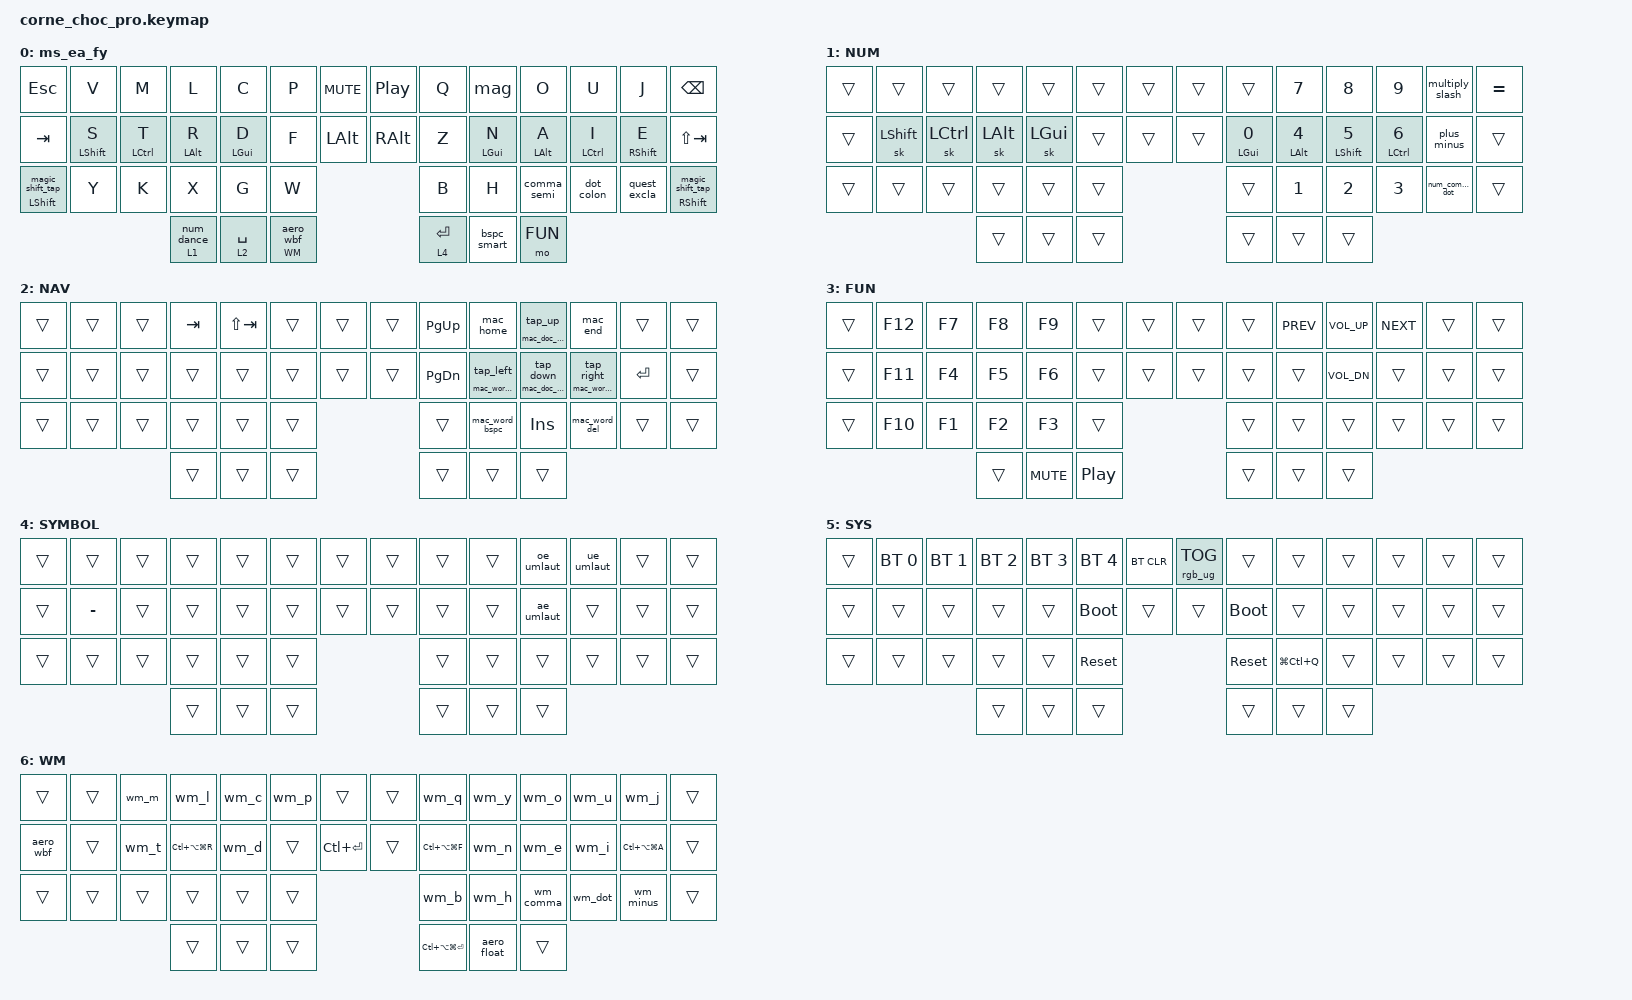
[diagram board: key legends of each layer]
/*
 * Copyright (c) 2020 The ZMK Contributors
 *
 * SPDX-License-Identifier: MIT
 */

#include <behaviors.dtsi>
#include <dt-bindings/zmk/bt.h>
#include <dt-bindings/zmk/keys.h>
#include <dt-bindings/zmk/rgb.h>

// ZMK Helpers for HRMs and macros
#include <zmk-helpers/helper.h>
#include "zmk-helpers/key-labels/corne_choc_pro.h"

// Auto-layer behavior for num-word
#include <behaviors/num_word.dtsi>

/* Layer definitions */
#define BASE   0
#define NUM    1
#define NAV    2
#define FUN    3
#define SYMBOL 4
#define SYS    5
#define WM     6

/ {
    chosen { zmk,physical-layout = &default_layout; };
};

/* Global settings */

#define QUICK_TAP_MS 175

&sk {
  release-after-ms = <900>;
  quick-release;
};

&sl {
  ignore-modifiers;
};

&caps_word {
  /delete-property/ ignore-modifiers;
};

&lt {
  flavor = "balanced";
  tapping-term-ms = <200>;
  quick-tap-ms = <QUICK_TAP_MS>;
};

/* Timeless Homerow Mods */

#define MAKE_HRM(NAME, HOLD, TAP, TRIGGER_POS) \
  ZMK_HOLD_TAP(NAME, \
    bindings = <HOLD>, <TAP>; \
    flavor = "balanced"; \
    tapping-term-ms = <220>; \
    quick-tap-ms = <QUICK_TAP_MS>; \
    require-prior-idle-ms = <250>; \
    hold-trigger-on-release; \
    hold-trigger-key-positions = <TRIGGER_POS>;)

MAKE_HRM(hml, &kp, &kp, KEYS_R THUMBS)  // Left-hand HRMs
MAKE_HRM(hmr, &kp, &kp, KEYS_L THUMBS)  // Right-hand HRMs

/* HRM-Combo Compatibility Hack (cf. ZMK issue #544)
   8-parameter version allows combos overlapping HRMs to have instant chord detection
   while still supporting modifiers on the opposite hand. */
#define ZMK_COMBO_8(NAME, TAP, POS, LAYERS, COMBO_MS, IDLE_MS, HOLD, SIDE) \
  MAKE_HRM(hm_combo_##NAME, &kp, TAP, SIDE THUMBS) \
  ZMK_COMBO_6(NAME, &hm_combo_##NAME HOLD 0, POS, LAYERS, COMBO_MS, IDLE_MS)

/ {
    behaviors {
        /* ================== ADAPTIVE KEY ================== */
        
        mag: magic {
            compatible = "zmk,behavior-adaptive-key";
            #binding-cells = <0>;
            bindings = <&none>;  // dedicated H key exists; no default output needed

            // === ms_ea_fy optimized 21-rule set ===
            // Trigram-conditioned model, weighted 60% EN / 40% DE, W=0.490
            // QWERTZ note: Z keycode → Y char, Y keycode → Z char
            // No max-prior-idle-ms: rules match regardless of timing (dedicated H key exists)

            // Essential (LOO ΔW ≥ 0.010)
            mag_j { trigger-keys = <J>; bindings = <&kp E>; };       // j→e  +0.014 RP SFB
            mag_k { trigger-keys = <K>; bindings = <&kp T>; };       // k→t  +0.011 LR SFB

            // Valuable (LOO ΔW ≥ 0.003)
            mag_r { trigger-keys = <R>; bindings = <&kp L>; };       // r→l  +0.009 LM SFB
            mag_u { trigger-keys = <U>; bindings = <&kp I>; };       // u→i  +0.008 RR SFB
            mag_m { trigger-keys = <M>; bindings = <&kp T>; };       // m→t  +0.007 LR SFB
            mag_o { trigger-keys = <O>; bindings = <&kp A>; };       // o→a  +0.007 RM SFB
            mag_t { trigger-keys = <T>; bindings = <&kp M>; };       // t→m  +0.006 LR SFB
            mag_s { trigger-keys = <S>; bindings = <&kp V>; };       // s→v  +0.006 LP SFB
            mag_i { trigger-keys = <I>; bindings = <&kp U>; };       // i→u  +0.003 RR SFB

            // Nice-to-have (LOO ΔW ≥ 0.001)
            mag_v { trigger-keys = <V>; bindings = <&kp S>; };       // v→s  +0.003 LP SFB
            mag_l { trigger-keys = <L>; bindings = <&kp R>; };       // l→r  +0.003 LM SFB
            mag_a { trigger-keys = <A>; bindings = <&kp O>; };       // a→o  +0.002 RM SFB
            mag_p { trigger-keys = <P>; bindings = <&kp F>; };       // p→f  +0.002 LI SFB
            mag_d { trigger-keys = <D>; bindings = <&kp W>; };       // d→w  +0.002 LI SFB
            mag_z { trigger-keys = <Y>; bindings = <&kp T>; };       // z→t  +0.002 LP→LR fixes "tzt" (Y keycode = Z char)
            mag_f { trigger-keys = <F>; bindings = <&kp G>; };       // f→g  +0.001 LI SFB
            mag_e { trigger-keys = <E>; bindings = <&kp J>; };       // e→j  +0.001 RP SFB
            mag_w { trigger-keys = <W>; bindings = <&kp C>; };       // w→c  +0.001 LI SFB
            mag_g { trigger-keys = <G>; bindings = <&kp P>; };       // g→p  +0.001 LI SFB

            // Marginal (LOO ΔW ≈ 0, zero cost)
            mag_c { trigger-keys = <C>; bindings = <&kp D>; };       // c→d  +0.001 LI SFB
            mag_x { trigger-keys = <X>; bindings = <&kp L>; };       // x→l  +0.000 LM SFB
        };

        /* ================== MOD-MORPHS ================== */
        
        // Base layer punctuation: tap comma, shift semicolon (macOS QWERTZ: , = COMMA, ; = Shift+COMMA)
        comma_semi: comma_semicolon {
            compatible = "zmk,behavior-mod-morph";
            #binding-cells = <0>;
            bindings = <&kp COMMA>, <&kp LS(COMMA)>;
            mods = <(MOD_LSFT|MOD_RSFT)>;
        };

        // Base layer punctuation: tap dot, shift colon (macOS QWERTZ: . = DOT, : = Shift+DOT)
        dot_colon: dot_colon {
            compatible = "zmk,behavior-mod-morph";
            #binding-cells = <0>;
            bindings = <&kp DOT>, <&kp LS(DOT)>;
            mods = <(MOD_LSFT|MOD_RSFT)>;
        };

        // Thumb key: smart backspace/delete with word-delete on Ctrl
        // Ctrl+tap → word-delete-back (Opt+Bspc)
        // Ctrl+Shift+tap → word-delete-forward (Opt+Del)
        // Shift+tap → Del
        // tap → Bspc
        bspc_smart: backspace_smart {
            compatible = "zmk,behavior-mod-morph";
            #binding-cells = <0>;
            bindings = <&bspc_del>, <&word_del_morph>;
            mods = <(MOD_LCTL|MOD_RCTL)>;
        };

        bspc_del: backspace_delete {
            compatible = "zmk,behavior-mod-morph";
            #binding-cells = <0>;
            bindings = <&kp BSPC>, <&kp DEL>;
            mods = <(MOD_LSFT|MOD_RSFT)>;
        };

        word_del_morph: word_delete_morph {
            compatible = "zmk,behavior-mod-morph";
            #binding-cells = <0>;
            bindings = <&mac_word_bspc>, <&mac_word_del>;
            mods = <(MOD_LSFT|MOD_RSFT)>;
        };

        //Tap question mark, shift exclamation mark
        quest_excla: question_exclamation {
            compatible = "zmk,behavior-mod-morph";
            #binding-cells = <0>;
            bindings = <&kp LS(MINUS)>, <&kp LS(N1)>;
            mods = <(MOD_LSFT|MOD_RSFT)>;
        };

        // NUM layer: tap multiply, shift slash (QWERTZ: * = Shift++, / = Shift+7)
        multiply_slash: multiply_slash {
            compatible = "zmk,behavior-mod-morph";
            #binding-cells = <0>;
            bindings = <&kp LS(RBKT)>, <&kp LS(N7)>;
            mods = <(MOD_LSFT|MOD_RSFT)>;
        };

        // NUM layer: tap plus, shift minus (QWERTZ: + = +, - = /)
        plus_minus: plus_minus {
            compatible = "zmk,behavior-mod-morph";
            #binding-cells = <0>;
            bindings = <&kp RBKT>, <&kp FSLH>;
            mods = <(MOD_LSFT|MOD_RSFT)>;
        };

        // NUM layer: tap comma, shift dot
        num_comma_dot: num_comma_dot {
            compatible = "zmk,behavior-mod-morph";
            #binding-cells = <0>;
            bindings = <&kp COMMA>, <&kp DOT>;
            mods = <(MOD_LSFT|MOD_RSFT)>;
        };

        /* ================== COMBO MOD-MORPHS (German QWERTZ) ================== */
        
        // Combo: tap left paren, shift less-than (macOS QWERTZ: ( = Shift+8, < = GRAVE unshifted)
        lpar_lt: lpar_lessthan {
            compatible = "zmk,behavior-mod-morph";
            #binding-cells = <0>;
            bindings = <&kp LS(N8)>, <&kp GRAVE>;
            mods = <(MOD_LSFT|MOD_RSFT)>;
        };

        // Combo: tap right paren, shift greater-than (macOS QWERTZ: ) = Shift+9, > = GRAVE shifted)
        rpar_gt: rpar_greaterthan {
            compatible = "zmk,behavior-mod-morph";
            #binding-cells = <0>;
            bindings = <&kp LS(N9)>, <&kp LS(GRAVE)>;
            mods = <(MOD_LSFT|MOD_RSFT)>;
        };

        // Combo: tap left bracket, shift left brace (macOS German: [ = AltGr+8, { = AltGr+7)
        lbkt_lbrc: lbkt_lbrace {
            compatible = "zmk,behavior-mod-morph";
            #binding-cells = <0>;
            bindings = <&kp RA(N8)>, <&kp RA(N7)>;
            mods = <(MOD_LSFT|MOD_RSFT)>;
        };

        // Combo: tap right bracket, shift right brace (macOS German: ] = AltGr+9, } = AltGr+0)
        rbkt_rbrc: rbkt_rbrace {
            compatible = "zmk,behavior-mod-morph";
            #binding-cells = <0>;
            bindings = <&kp RA(N9)>, <&kp RA(N0)>;
            mods = <(MOD_LSFT|MOD_RSFT)>;
        };

        // Combo: tap double quote, shift single quote (QWERTZ: ' = Shift+#, " = Shift+2)
        dqt_sqt: sqt_dquote {
            compatible = "zmk,behavior-mod-morph";
            #binding-cells = <0>;
            bindings = <&kp LS(N2)>, <&kp LS(NON_US_HASH)>;
            mods = <(MOD_LSFT|MOD_RSFT)>;
        };

        // Combo: tap backtick dead key, shift acute dead key (QWERTZ: ´ = =, ` = Shift+=)
        // Press space after the dead key to get standalone backtick.
        tick_acu: backtick_acute {
            compatible = "zmk,behavior-mod-morph";
            #binding-cells = <0>;
            bindings = <&kp LS(EQUAL)>, <&kp EQUAL>;
            mods = <(MOD_LSFT|MOD_RSFT)>;
        };

        // Combo: tap dollar, shift percent (QWERTZ: $ = Shift+4, % = Shift+5)
        doll_perc: dollar_percent {
            compatible = "zmk,behavior-mod-morph";
            #binding-cells = <0>;
            bindings = <&kp LS(N4)>, <&kp LS(N5)>;
            mods = <(MOD_LSFT|MOD_RSFT)>;
        };

        // Combo: tap circumflex dead key, shift degree symbol (macOS German: ^ = NUBS, ° = Shift+NUBS)
        circ_deg: circumflex_degree {
            compatible = "zmk,behavior-mod-morph";
            #binding-cells = <0>;
            bindings = <&kp NUBS>, <&kp LS(NUBS)>;
            mods = <(MOD_LSFT|MOD_RSFT)>;
        };


        /* ================== GERMAN UMLAUT MOD-MORPHS ================== */
        
        // ä/Ä: tap lowercase, shift uppercase (macOS German: SQT key)
        ae_umlaut: ae_umlaut {
            compatible = "zmk,behavior-mod-morph";
            #binding-cells = <0>;
            bindings = <&kp SQT>, <&kp LS(SQT)>;
            mods = <(MOD_LSFT|MOD_RSFT)>;
        };

        // ö/Ö: tap lowercase, shift uppercase (macOS German: SEMI key)
        oe_umlaut: oe_umlaut {
            compatible = "zmk,behavior-mod-morph";
            #binding-cells = <0>;
            bindings = <&kp SEMI>, <&kp LS(SEMI)>;
            mods = <(MOD_LSFT|MOD_RSFT)>;
        };

        // ü/Ü: tap lowercase, shift uppercase (macOS German: LBKT key)
        ue_umlaut: ue_umlaut {
            compatible = "zmk,behavior-mod-morph";
            #binding-cells = <0>;
            bindings = <&kp LBKT>, <&kp LS(LBKT)>;
            mods = <(MOD_LSFT|MOD_RSFT)>;
        };

        /* ================== LAYER BEHAVIORS ================== */
        
        // Smart space: tap space, hold NAV layer
        lt_spc: layer_tap_space {
            compatible = "zmk,behavior-hold-tap";
            #binding-cells = <2>;
            flavor = "balanced";
            tapping-term-ms = <200>;
            quick-tap-ms = <QUICK_TAP_MS>;
            bindings = <&mo>, <&kp>;
        };

        // Smart enter: tap enter, hold FN layer
        lt_ent: layer_tap_enter {
            compatible = "zmk,behavior-hold-tap";
            #binding-cells = <2>;
            flavor = "balanced";
            tapping-term-ms = <200>;
            quick-tap-ms = <QUICK_TAP_MS>;
            bindings = <&mo>, <&kp>;
        };

        /* ================== ENHANCED NAVIGATION ================== */
        
        // Enhanced arrows: hold for special navigation (macOS style)
        mt_home: hold_tap_home {
            compatible = "zmk,behavior-hold-tap";
            #binding-cells = <2>;
            flavor = "balanced";
            tapping-term-ms = <200>;
            quick-tap-ms = <QUICK_TAP_MS>;
            bindings = <&mac_word_left>, <&tap_left>;
        };

        mt_end: hold_tap_end {
            compatible = "zmk,behavior-hold-tap";
            #binding-cells = <2>;
            flavor = "balanced";
            tapping-term-ms = <200>;
            quick-tap-ms = <QUICK_TAP_MS>;
            bindings = <&mac_word_right>, <&tap_right>;
        };

        mt_doc_start: hold_tap_doc_start {
            compatible = "zmk,behavior-hold-tap";
            #binding-cells = <2>;
            flavor = "balanced";
            tapping-term-ms = <200>;
            quick-tap-ms = <QUICK_TAP_MS>;
            bindings = <&mac_doc_start>, <&tap_up>;
        };

        mt_doc_end: hold_tap_doc_end {
            compatible = "zmk,behavior-hold-tap";
            #binding-cells = <2>;
            flavor = "balanced";
            tapping-term-ms = <200>;
            quick-tap-ms = <QUICK_TAP_MS>;
            bindings = <&mac_doc_end>, <&tap_down>;
        };

        mt_word_bspc: hold_tap_word_bspc {
            compatible = "zmk,behavior-hold-tap";
            #binding-cells = <2>;
            flavor = "balanced";
            tapping-term-ms = <200>;
            quick-tap-ms = <QUICK_TAP_MS>;
            bindings = <&mac_word_bspc>, <&tap_bspc>;
        };

        mt_word_del: hold_tap_word_del {
            compatible = "zmk,behavior-hold-tap";
            #binding-cells = <2>;
            flavor = "balanced";
            tapping-term-ms = <200>;
            quick-tap-ms = <QUICK_TAP_MS>;
            bindings = <&mac_word_del>, <&tap_del>;
        };

        /* ================== SMART_NUM ================== */
        
        // Tap: num-word | Double-tap: sticky NUM layer | Hold: NUM layer
        smart_num: smart_num {
            compatible = "zmk,behavior-hold-tap";
            #binding-cells = <2>;
            flavor = "balanced";
            tapping-term-ms = <200>;
            quick-tap-ms = <QUICK_TAP_MS>;
            bindings = <&mo>, <&num_dance>;
        };

        num_dance: num_dance {
            compatible = "zmk,behavior-tap-dance";
            #binding-cells = <0>;
            tapping-term-ms = <200>;
            bindings = <&num_word 1>, <&sl 1>;
        };

        /* ================== SMART WM ================== */
        
        // Tap: Aerospace workspace-back-and-forth | Hold: Window Manager layer
        smart_wm: smart_wm {
            compatible = "zmk,behavior-hold-tap";
            #binding-cells = <2>;
            flavor = "balanced";
            tapping-term-ms = <200>;
            quick-tap-ms = <QUICK_TAP_MS>;
            bindings = <&mo>, <&aero_wbf>;
        };

        /* ================== MAGIC SHIFT ================== */
        
        // Tap: sticky-shift | Double-tap/Shift+tap: caps-word | Hold: shift
        // Simplified version without key-repeat functionality
        magic_shift: magic_shift {
            compatible = "zmk,behavior-hold-tap";
            #binding-cells = <2>;
            flavor = "balanced";
            tapping-term-ms = <200>;
            quick-tap-ms = <QUICK_TAP_MS>;
            bindings = <&kp>, <&magic_shift_tap>;
        };

        magic_shift_tap: magic_shift_tap {
            compatible = "zmk,behavior-mod-morph";
            #binding-cells = <0>;
            bindings = <&sk LSHFT>, <&caps_word>;
            mods = <(MOD_LSFT|MOD_RSFT)>;
        };

        /* ================== AEROSPACE WM MOD-MORPHS ================== */
        /* Shift variants for move operations on WM layer */

        // Monitor focus/move - M (Built-in display)
        wm_m: wm_monitor_main {
            compatible = "zmk,behavior-mod-morph";
            #binding-cells = <0>;
            bindings = <&kp LC(LA(LG(M)))>, <&kp LC(LA(LG(LS(M))))>;
            mods = <(MOD_LSFT|MOD_RSFT)>;
        };

        // Monitor focus/move - L (Left external)
        wm_l: wm_monitor_left_ext {
            compatible = "zmk,behavior-mod-morph";
            #binding-cells = <0>;
            bindings = <&kp LC(LA(LG(L)))>, <&kp LC(LA(LG(LS(L))))>;
            mods = <(MOD_LSFT|MOD_RSFT)>;
        };

        // Monitor focus/move - C (Center/right external)
        wm_c: wm_monitor_center {
            compatible = "zmk,behavior-mod-morph";
            #binding-cells = <0>;
            bindings = <&kp LC(LA(LG(C)))>, <&kp LC(LA(LG(LS(C))))>;
            mods = <(MOD_LSFT|MOD_RSFT)>;
        };

        // Monitor focus/move - T (focus left)
        wm_t: wm_monitor_dir_left {
            compatible = "zmk,behavior-mod-morph";
            #binding-cells = <0>;
            bindings = <&kp LC(LA(LG(T)))>, <&kp LC(LA(LG(LS(T))))>;
            mods = <(MOD_LSFT|MOD_RSFT)>;
        };

        // Monitor focus/move - D (focus right)
        wm_d: wm_monitor_dir_right {
            compatible = "zmk,behavior-mod-morph";
            #binding-cells = <0>;
            bindings = <&kp LC(LA(LG(D)))>, <&kp LC(LA(LG(LS(D))))>;
            mods = <(MOD_LSFT|MOD_RSFT)>;
        };

        // Window focus/move - O (up)
        wm_o: wm_focus_up {
            compatible = "zmk,behavior-mod-morph";
            #binding-cells = <0>;
            bindings = <&kp LC(LA(LG(O)))>, <&kp LC(LA(LG(LS(O))))>;
            mods = <(MOD_LSFT|MOD_RSFT)>;
        };

        // Window focus/move - N (left)
        wm_n: wm_focus_left {
            compatible = "zmk,behavior-mod-morph";
            #binding-cells = <0>;
            bindings = <&kp LC(LA(LG(N)))>, <&kp LC(LA(LG(LS(N))))>;
            mods = <(MOD_LSFT|MOD_RSFT)>;
        };

        // Window focus/move - E (down)
        wm_e: wm_focus_down {
            compatible = "zmk,behavior-mod-morph";
            #binding-cells = <0>;
            bindings = <&kp LC(LA(LG(E)))>, <&kp LC(LA(LG(LS(E))))>;
            mods = <(MOD_LSFT|MOD_RSFT)>;
        };

        // Window focus/move - I (right)
        wm_i: wm_focus_right {
            compatible = "zmk,behavior-mod-morph";
            #binding-cells = <0>;
            bindings = <&kp LC(LA(LG(I)))>, <&kp LC(LA(LG(LS(I))))>;
            mods = <(MOD_LSFT|MOD_RSFT)>;
        };

        // Workspace switch/move - Q (workspace 1)
        wm_q: wm_workspace_1 {
            compatible = "zmk,behavior-mod-morph";
            #binding-cells = <0>;
            bindings = <&kp LC(LA(LG(Q)))>, <&kp LC(LA(LG(LS(Q))))>;
            mods = <(MOD_LSFT|MOD_RSFT)>;
        };

        // Workspace switch/move - Y (workspace 2, ß sends Y)
        wm_y: wm_workspace_2 {
            compatible = "zmk,behavior-mod-morph";
            #binding-cells = <0>;
            bindings = <&kp LC(LA(LG(Y)))>, <&kp LC(LA(LG(LS(Y))))>;
            mods = <(MOD_LSFT|MOD_RSFT)>;
        };

        // Workspace switch/move - U (workspace 3)
        wm_u: wm_workspace_3 {
            compatible = "zmk,behavior-mod-morph";
            #binding-cells = <0>;
            bindings = <&kp LC(LA(LG(U)))>, <&kp LC(LA(LG(LS(U))))>;
            mods = <(MOD_LSFT|MOD_RSFT)>;
        };

        // Workspace switch/move - J (workspace 4)
        wm_j: wm_workspace_4 {
            compatible = "zmk,behavior-mod-morph";
            #binding-cells = <0>;
            bindings = <&kp LC(LA(LG(J)))>, <&kp LC(LA(LG(LS(J))))>;
            mods = <(MOD_LSFT|MOD_RSFT)>;
        };

        // Workspace switch/move - B (workspace 5)
        wm_b: wm_workspace_5 {
            compatible = "zmk,behavior-mod-morph";
            #binding-cells = <0>;
            bindings = <&kp LC(LA(LG(B)))>, <&kp LC(LA(LG(LS(B))))>;
            mods = <(MOD_LSFT|MOD_RSFT)>;
        };

        // Workspace switch/move - H (workspace 6)
        wm_h: wm_workspace_6 {
            compatible = "zmk,behavior-mod-morph";
            #binding-cells = <0>;
            bindings = <&kp LC(LA(LG(H)))>, <&kp LC(LA(LG(LS(H))))>;
            mods = <(MOD_LSFT|MOD_RSFT)>;
        };

        // Workspace switch/move - comma (workspace 7)
        wm_comma: wm_workspace_7 {
            compatible = "zmk,behavior-mod-morph";
            #binding-cells = <0>;
            bindings = <&kp LC(LA(LG(COMMA)))>, <&kp LC(LA(LG(SEMI)))>;
            mods = <(MOD_LSFT|MOD_RSFT)>;
        };

        // Workspace switch/move - period (workspace 8)
        wm_dot: wm_workspace_8 {
            compatible = "zmk,behavior-mod-morph";
            #binding-cells = <0>;
            bindings = <&kp LC(LA(LG(DOT)))>, <&kp LC(LA(LG(LS(SEMI))))>;
            mods = <(MOD_LSFT|MOD_RSFT)>;
        };

        // Workspace switch/move - minus/ß (workspace 9)
        wm_minus: wm_workspace_9 {
            compatible = "zmk,behavior-mod-morph";
            #binding-cells = <0>;
            bindings = <&kp LC(LA(LG(MINUS)))>, <&kp LC(LA(LG(LS(MINUS))))>;
            mods = <(MOD_LSFT|MOD_RSFT)>;
        };

        // Window switcher popup - P
        wm_p: wm_window_switcher {
            compatible = "zmk,behavior-mod-morph";
            #binding-cells = <0>;
            bindings = <&kp LC(LA(LG(P)))>, <&kp LC(LA(LG(LS(P))))>;
            mods = <(MOD_LSFT|MOD_RSFT)>;
        };
    };

    /* ================== MACROS FOR MACOS NAVIGATION ================== */
    
    macros {
        // Macros for macOS navigation (Cmd/Option combinations)
        mac_home: mac_home {
            compatible = "zmk,behavior-macro";
            #binding-cells = <0>;
            wait-ms = <0>;
            tap-ms = <0>;
            bindings = <&macro_press &kp LGUI>
                     , <&macro_tap &kp LEFT>
                     , <&macro_release &kp LGUI>;
        };

        mac_end: mac_end {
            compatible = "zmk,behavior-macro";
            #binding-cells = <0>;
            wait-ms = <0>;
            tap-ms = <0>;
            bindings = <&macro_press &kp LGUI>
                     , <&macro_tap &kp RIGHT>
                     , <&macro_release &kp LGUI>;
        };

        mac_doc_start: mac_doc_start {
            compatible = "zmk,behavior-macro";
            #binding-cells = <0>;
            wait-ms = <0>;
            tap-ms = <0>;
            bindings = <&macro_press &kp LGUI>
                     , <&macro_tap &kp UP>
                     , <&macro_release &kp LGUI>;
        };

        mac_doc_end: mac_doc_end {
            compatible = "zmk,behavior-macro";
            #binding-cells = <0>;
            wait-ms = <0>;
            tap-ms = <0>;
            bindings = <&macro_press &kp LGUI>
                     , <&macro_tap &kp DOWN>
                     , <&macro_release &kp LGUI>;
        };

        mac_word_bspc: mac_word_bspc {
            compatible = "zmk,behavior-macro";
            #binding-cells = <0>;
            wait-ms = <0>;
            tap-ms = <0>;
            bindings = <&macro_press &kp LALT>
                     , <&macro_tap &kp BSPC>
                     , <&macro_release &kp LALT>;
        };

        mac_word_del: mac_word_del {
            compatible = "zmk,behavior-macro";
            #binding-cells = <0>;
            wait-ms = <0>;
            tap-ms = <0>;
            bindings = <&macro_press &kp LALT>
                     , <&macro_tap &kp DEL>
                     , <&macro_release &kp LALT>;
        };

        mac_word_left: mac_word_left {
            compatible = "zmk,behavior-macro";
            #binding-cells = <0>;
            wait-ms = <0>;
            tap-ms = <0>;
            bindings = <&macro_press &kp LALT>
                     , <&macro_tap &kp LEFT>
                     , <&macro_release &kp LALT>;
        };

        mac_word_right: mac_word_right {
            compatible = "zmk,behavior-macro";
            #binding-cells = <0>;
            wait-ms = <0>;
            tap-ms = <0>;
            bindings = <&macro_press &kp LALT>
                     , <&macro_tap &kp RIGHT>
                     , <&macro_release &kp LALT>;
        };

        // Simple arrow and key macros for hold-tap tap actions
        tap_left: tap_left {
            compatible = "zmk,behavior-macro";
            #binding-cells = <0>;
            bindings = <&kp LEFT>;
        };

        tap_right: tap_right {
            compatible = "zmk,behavior-macro";
            #binding-cells = <0>;
            bindings = <&kp RIGHT>;
        };

        tap_up: tap_up {
            compatible = "zmk,behavior-macro";
            #binding-cells = <0>;
            bindings = <&kp UP>;
        };

        tap_down: tap_down {
            compatible = "zmk,behavior-macro";
            #binding-cells = <0>;
            bindings = <&kp DOWN>;
        };

        tap_bspc: tap_bspc {
            compatible = "zmk,behavior-macro";
            #binding-cells = <0>;
            bindings = <&kp BSPC>;
        };

        tap_del: tap_del {
            compatible = "zmk,behavior-macro";
            #binding-cells = <0>;
            bindings = <&kp DEL>;
        };

        // macOS screenshot selection: Ctrl+Shift+Cmd+4
        mac_screenshot: mac_screenshot {
            compatible = "zmk,behavior-macro";
            #binding-cells = <0>;
            wait-ms = <0>;
            tap-ms = <0>;
            bindings = <&macro_press &kp LCTRL &kp LSHFT &kp LGUI>
                     , <&macro_tap &kp N4>
                     , <&macro_release &kp LCTRL &kp LSHFT &kp LGUI>;
        };

        // Aerospace: workspace-back-and-forth (Ctrl+Alt+Cmd+Tab)
        // Used as smart_wm tap action and WM layer LM6 for quick workspace toggle
        aero_wbf: aero_workspace_back_and_forth {
            compatible = "zmk,behavior-macro";
            #binding-cells = <0>;
            wait-ms = <0>;
            tap-ms = <0>;
            bindings = <&macro_press &kp LCTRL &kp LALT &kp LGUI>
                     , <&macro_tap &kp TAB>
                     , <&macro_release &kp LCTRL &kp LALT &kp LGUI>;
        };

        // Aerospace: float toggle (Ctrl+Alt+Cmd+Backspace)
        // Used on WM layer RH1 position
        aero_float: aero_float_toggle {
            compatible = "zmk,behavior-macro";
            #binding-cells = <0>;
            wait-ms = <0>;
            tap-ms = <0>;
            bindings = <&macro_press &kp LCTRL &kp LALT &kp LGUI>
                     , <&macro_tap &kp BSPC>
                     , <&macro_release &kp LCTRL &kp LALT &kp LGUI>;
        };

        // { = AltGr+7 (for lbkt_lbrc combo with shift)
        lbrc_macro: left_brace_macro {
            compatible = "zmk,behavior-macro";
            #binding-cells = <0>;
            wait-ms = <0>;
            tap-ms = <0>;
            bindings = <&macro_release &kp LSHFT &kp RSHFT>
                     , <&macro_press &kp RALT>
                     , <&macro_tap &kp N7>
                     , <&macro_release &kp RALT>;
        };

        // } = AltGr+0 (for rbkt_rbrc combo with shift)
        rbrc_macro: right_brace_macro {
            compatible = "zmk,behavior-macro";
            #binding-cells = <0>;
            wait-ms = <0>;
            tap-ms = <0>;
            bindings = <&macro_release &kp LSHFT &kp RSHFT>
                     , <&macro_press &kp RALT>
                     , <&macro_tap &kp N0>
                     , <&macro_release &kp RALT>;
        };
    };

    /* Conditional layers - NAV + FUN = SYS */
    conditional_layers {
        compatible = "zmk,conditional-layers";
        tri_layer {
            if-layers = <NAV FUN>;
            then-layer = <SYS>;
        };
    };
};

/* ╭──────────────────────────────────────────────────────────────────────────╮
   │                              COMBOS                                      │
   │  Must be sourced after behaviors to access mod-morphs                    │
   ╰──────────────────────────────────────────────────────────────────────────╯ */

#include "combos.dtsi"

/ {
    keymap {
        compatible = "zmk,keymap";

        BaseLayer {
            display-name = "ms_ea_fy";
            bindings = <
/*                                      46 KEY MATRIX / LAYOUT MAPPING

  ╭────────────────────────────────────────────────────────────╮ ╭───────────────────────────────────────────────────────────╮
  │  0   1   2   3   4   5   6 │  7   8   9  10  11  12  13    │ │ LT6 LT5 LT4 LT3 LT2 LT1 LT0 │ RT0 RT1 RT2 RT3 RT4 RT5 RT6 │
  │ 14  15  16  17  18  19  20 │ 21  22  23  24  25  26  27    │ │ LM6 LM5 LM4 LM3 LM2 LM1 LM0 │ RM0 RM1 RM2 RM3 RM4 RM5 RM6 │
  │ 28  29  30  31  32  33     │     34  35  36  37  38  39    │ │ LB5 LB4 LB3 LB2 LB1 LB0     │     RB0 RB1 RB2 RB3 RB4 RB5 │
  ╰───────────────╮ 40  41  42 | 43  44  45 ╭──────────────────╯ ╰───────────────╮ LH2 LH1 LH0 | RH0 RH1 RH2 ╭───────────────╯
                  ╰────────────┴────────────╯                                    ╰─────────────┴─────────────╯              */

// ╭──────────────┬──────────────┬──────────────┬──────────────┬──────────────┬──────────────┬──────────────╮   ╭──────────────┬──────────────┬──────────────┬──────────────┬──────────────┬──────────────┬──────────────╮
       &kp ESC         &kp V          &kp M          &kp L          &kp C          &kp P        &kp C_MUTE          &kp C_PP        &kp Q          &mag           &kp O          &kp U          &kp J         &kp BSPC
// ├──────────────┼──────────────┼──────────────┼──────────────┼──────────────┼──────────────┼──────────────┤   ├──────────────┼──────────────┼──────────────┼──────────────┼──────────────┼──────────────┼──────────────┤
       &kp TAB      &hml LSHFT S   &hml LCTRL T   &hml LALT R     &hml LGUI D      &kp F         &kp LALT           &kp RALT        &kp Z       &hmr LGUI N    &hmr LALT A    &hmr LCTRL I   &hmr RSHFT E    &kp LS(TAB)
// ├──────────────┼──────────────┼──────────────┼──────────────┼──────────────┼──────────────┤──────────────╯   ╰──────────────├──────────────┼──────────────┼──────────────┼──────────────┼──────────────┼──────────────┤
  &magic_shift LSHFT 0  &kp Y          &kp K          &kp X          &kp G          &kp W                                            &kp B          &kp H       &comma_semi     &dot_colon    &quest_excla  &magic_shift RSHFT 0
// ╰──────────────┴──────────────┴──────────────┼──────────────┼──────────────┼──────────────┤                                 ├──────────────┼──────────────┼──────────────┼──────────────┴──────────────┴──────────────╯
                                                 &smart_num 1 0  &lt_spc 2 SPACE  &smart_wm WM 0                                     &lt_ent 4 RET    &bspc_smart     &mo FUN
//                                              ╰──────────────┴──────────────┴──────────────╯                                 ╰──────────────┴──────────────┴──────────────╯
            >;
        };

        NUMLayer {
            display-name = "NUM";
            bindings = <
/*  NUM LAYER - Right Hand Numpad with HRMs
    ╭──────────────────────────────────────────────────────────────╮
    │  Left hand: Sticky modifiers                                 │
    │  Right hand: Numpad layout with home row mods                │
    ╰──────────────────────────────────────────────────────────────╯  */

// ╭──────────────┬──────────────┬──────────────┬──────────────┬──────────────┬──────────────┬──────────────╮   ╭──────────────┬──────────────┬──────────────┬──────────────┬──────────────┬──────────────┬──────────────╮
        &trans         &trans         &trans         &trans         &trans         &trans         &trans             &trans         &trans         &kp N7        &kp N8          &kp N9    &multiply_slash    &kp EQUAL
// ├──────────────┼──────────────┼──────────────┼──────────────┼──────────────┼──────────────┼──────────────┤   ├──────────────┼──────────────┼──────────────┼──────────────┼──────────────┼──────────────┼──────────────┤
        &trans        &sk LSHFT     &sk LCTRL      &sk LALT        &sk LGUI        &trans         &trans             &trans      &hmr LGUI N0   &hmr LALT N4   &hmr LSHFT N5  &hmr LCTRL N6  &plus_minus       &trans
// ├──────────────┼──────────────┼──────────────┼──────────────┼──────────────┼──────────────┤──────────────╯   ╰──────────────├──────────────┼──────────────┼──────────────┼──────────────┼──────────────┼──────────────┤
        &trans         &trans         &trans         &trans         &trans         &trans                                           &trans         &kp N1        &kp N2          &kp N3     &num_comma_dot     &trans
// ╰──────────────┴──────────────┴──────────────┼──────────────┼──────────────┼──────────────┤                                 ├──────────────┼──────────────┼──────────────┼──────────────┴──────────────┴──────────────╯
                                                     &trans         &trans         &trans                                           &trans         &trans         &trans
//                                              ╰──────────────┴──────────────┴──────────────╯                                 ╰──────────────┴──────────────┴──────────────╯
            >;
        };

        NAVLayer {
            display-name = "NAV";
            bindings = <
/*  NAV LAYER - Navigation & System Controls
    ╭──────────────────────────────────────────────────────────────╮
    │  Left:  Transparent (allows base layer HRMs)                 │
    │  Right: Enhanced navigation with hold behaviors              │
    ╰──────────────────────────────────────────────────────────────╯
    
    Enhanced arrows:  LEFT:  tap ←, hold Opt+Left (word left)
                      RIGHT: tap →, hold Opt+Right (word right)
                      UP:    tap ↑, hold Cmd+Up (doc start)
                      DOWN:  tap ↓, hold Cmd+Down (doc end)
    
    Word deletion:    Opt+Bspc (word back)
                      Opt+Del (word fwd)                          */

// ╭──────────────┬──────────────┬──────────────┬──────────────┬──────────────┬──────────────┬──────────────╮   ╭──────────────┬──────────────┬──────────────┬──────────────┬──────────────┬──────────────┬──────────────╮
        &trans         &trans        &trans         &kp TAB       &kp LS(TAB)      &trans         &trans             &trans        &kp PG_UP     &mac_home   &mt_doc_start 0 0   &mac_end       &trans         &trans
// ├──────────────┼──────────────┼──────────────┼──────────────┼──────────────┼──────────────┼──────────────┤   ├──────────────┼──────────────┼──────────────┼──────────────┼──────────────┼──────────────┼──────────────┤
        &trans         &trans        &trans         &trans          &trans         &trans         &trans             &trans        &kp PG_DN   &mt_home 0 0  &mt_doc_end 0 0  &mt_end 0 0       &kp RET        &trans
// ├──────────────┼──────────────┼──────────────┼──────────────┼──────────────┼──────────────┤──────────────╯   ╰──────────────┼──────────────┼──────────────┼──────────────┼──────────────┼──────────────┤──────────────┤
        &trans         &trans        &trans         &trans          &trans         &trans                                           &trans     &mac_word_bspc    &kp INS      &mac_word_del     &trans         &trans
// ╰──────────────┴──────────────┴──────────────┼──────────────┼──────────────┼──────────────┤                                 ├──────────────┴──────────────┴──────────────┼──────────────┼──────────────┼──────────────╯
                                                     &trans         &trans         &trans                                           &trans          &trans        &trans
//                                              ╰──────────────┴──────────────┴──────────────╯                                 ╰──────────────┴──────────────┴──────────────╯
            >;
        };

        FUNLayer {
            display-name = "FUN";
            bindings = <
/*  FUN LAYER - Function Keys & Media Controls (based on urob's layout)
    ╭──────────────────────────────────────────────────────────────╮
    │  Left:  F-keys in columns (F12-F1, top to bottom)            │
    │  Right: Media controls (volume, track nav, play/pause)       │
    ╰──────────────────────────────────────────────────────────────╯
    
    Left hand F-keys (urob's order):
    Top:    F12  F7  F8  F9
    Home:   F11  F4  F5  F6
    Bottom: F10  F1  F2  F3
    
    Right hand media (urob's layout):
    Top:    -    C_PREV  C_VOL_UP  C_NEXT  -
    Home:   -    -       C_VOL_DN  -       -
    Thumb:  C_MUTE  C_PP                                           */

// ╭──────────────┬──────────────┬──────────────┬──────────────┬──────────────┬──────────────┬──────────────╮   ╭──────────────┬──────────────┬──────────────┬──────────────┬──────────────┬──────────────┬──────────────╮
        &trans        &kp F12        &kp F7         &kp F8         &kp F9         &trans         &trans             &trans         &trans        &kp C_PREV    &kp C_VOL_UP    &kp C_NEXT       &trans         &trans
// ├──────────────┼──────────────┼──────────────┼──────────────┼──────────────┼──────────────┼──────────────┤   ├──────────────┼──────────────┼──────────────┼──────────────┼──────────────┼──────────────┼──────────────┤
        &trans        &kp F11        &kp F4         &kp F5         &kp F6         &trans         &trans             &trans         &trans         &trans       &kp C_VOL_DN      &trans         &trans         &trans
// ├──────────────┼──────────────┼──────────────┼──────────────┼──────────────┼──────────────┤──────────────╯   ╰──────────────├──────────────┼──────────────┼──────────────┼──────────────┼──────────────┼──────────────┤
        &trans        &kp F10        &kp F1         &kp F2         &kp F3         &trans                                           &trans         &trans         &trans         &trans         &trans         &trans
// ╰──────────────┴──────────────┴──────────────┼──────────────┼──────────────┼──────────────┤                                 ├──────────────┼──────────────┼──────────────┼──────────────┴──────────────┴──────────────╯
                                                     &trans        &kp C_MUTE     &kp C_PP                                         &trans         &trans         &trans
//                                              ╰──────────────┴──────────────┴──────────────╯                                 ╰──────────────┴──────────────┴──────────────╯
            >;
        };

        raise_layer {
            display-name = "SYMBOL";
            bindings = <
/*  SYMBOL LAYER - Programming Symbols & German Umlauts (German QWERTZ)
    ╭──────────────────────────────────────────────────────────────╮
    │  Left hand: Common programming symbols                       │
    │  Right hand: Brackets (same as combos) & German umlauts      │
    ╰──────────────────────────────────────────────────────────────╯
    
    German QWERTZ symbol mappings (macOS German - Standard):
    ! = Shift+1, @ = AltGr+Q, * = Shift++, < = GRAVE, > = Shift+GRAVE
    ~ = AltGr+N, ` = Shift+EQUAL, $ = Shift+4, # = NON_US_HASH
    % = Shift+5, | = AltGr+7, \ = Shift+AltGr+7, = = Shift+0, + = RBKT
    
    German Umlauts (direct keycodes for German layout):
    - ä/Ä = SQT / Shift+SQT (at RM3 — same position as A on base)
    - ö/Ö = SEMI / Shift+SEMI (at RT3 — same position as O on base)
    - ü/Ü = LBKT / Shift+LBKT (at RT4 — same position as U on base)
    - ß = MINUS (minus key position)
    
    Brackets mirror combo positions:
    - ()/<> at RM1/RM2 (same fingers as RM1+RM2 combo)
    - []/{} at RB1/RB2 (same fingers as RB0+RB1/RB1+RB2 combos)
    - '/" at RB3 (same finger as RB2+RB3 combo)               */

// ╭──────────────┬──────────────┬──────────────┬──────────────┬──────────────┬──────────────┬──────────────╮   ╭──────────────┬──────────────┬──────────────┬──────────────┬──────────────┬──────────────┬──────────────╮
      &trans        &trans         &trans         &trans           &trans         &trans         &trans             &trans       &trans         &trans          &oe_umlaut     &ue_umlaut     &trans          &trans
// ├──────────────┼──────────────┼──────────────┼──────────────┼──────────────┼──────────────┼──────────────┤   ├──────────────┼──────────────┼──────────────┼──────────────┼──────────────┼──────────────┼──────────────┤
      &trans        &kp MINUS      &trans         &trans           &trans         &trans         &trans             &trans       &trans         &trans         &ae_umlaut     &trans         &trans         &trans
// ├──────────────┼──────────────┼──────────────┼──────────────┼──────────────┼──────────────┤──────────────╯   ╰──────────────├──────────────┼──────────────┼──────────────┼──────────────┼──────────────┼──────────────┤
      &trans        &trans         &trans         &trans           &trans         &trans                                          &trans         &trans         &trans          &trans         &trans         &trans
// ╰──────────────┴──────────────┴──────────────┼──────────────┼──────────────┼──────────────┤                                 ├──────────────┼──────────────┼──────────────┼──────────────┴──────────────┴──────────────╯
                                                    &trans         &trans         &trans                                            &trans          &trans         &trans
//                                              ╰──────────────┴──────────────┴──────────────╯                                 ╰──────────────┴──────────────┴──────────────╯
            >;
        };

        SYSLayer {
            display-name = "SYS";
            bindings = <
/*  System layer - accessed via NAV + FUN (tri-layer)
    Left hand: BT profiles and clear
    Right hand: RGB toggle (RT0), bootloader, reset, lock screen
    
    Lock screen: Cmd+Ctrl+Q on macOS                          */

// ╭──────────────┬──────────────┬──────────────┬──────────────┬──────────────┬──────────────┬──────────────╮   ╭──────────────┬──────────────┬──────────────┬──────────────┬──────────────┬──────────────┬──────────────╮
        &trans      &bt BT_SEL 0   &bt BT_SEL 1   &bt BT_SEL 2   &bt BT_SEL 3   &bt BT_SEL 4    &bt BT_CLR      &rgb_ug RGB_TOG    &trans         &trans         &trans         &trans         &trans         &trans
// ├──────────────┼──────────────┼──────────────┼──────────────┼──────────────┼──────────────┼──────────────┤   ├──────────────┼──────────────┼──────────────┼──────────────┼──────────────┼──────────────┼──────────────┤
        &trans         &trans         &trans         &trans         &trans      &bootloader        &trans            &trans        &bootloader     &trans         &trans         &trans         &trans         &trans
// ├──────────────┼──────────────┼──────────────┼──────────────┼──────────────┼──────────────┤──────────────╯   ╰──────────────├──────────────┼──────────────┼──────────────┼──────────────┼──────────────┼──────────────┤
        &trans         &trans         &trans         &trans         &trans       &sys_reset                                        &sys_reset   &kp LG(LC(Q))     &trans         &trans         &trans         &trans
// ╰──────────────┴──────────────┴──────────────┼──────────────┼──────────────┼──────────────┤                                 ├──────────────┼──────────────┼──────────────┼──────────────┴──────────────┴──────────────╯
                                                     &trans         &trans         &trans                                           &trans         &trans         &trans
//                                              ╰──────────────┴──────────────┴──────────────╯                                 ╰──────────────┴──────────────┴──────────────╯
            >;
        };

        WMLayer {
            display-name = "WM";
            bindings = <
/*  Window Manager layer — Aerospace (Ctrl+Alt+Cmd prefix)
    App-centric navigation: right hand focuses apps, left hand manages monitors/resize
    
    Left hand:
    LM6 = workspace-back-and-forth (Tab)
    LT4 = resize shrink (M)          LT2 = resize grow (C)
    LM4 = focus monitor Built-in (T)  LM3 = focus monitor HP(2) (R)   LM2 = focus monitor HP(1) (D)   LM0 = Ctrl+Enter (tmux prefix)
    Shift + T/R/D: move-workspace-to-monitor
    
    Right hand - App hotkeys:
    RT1 = Outlook (Q)   RT2 = Safari (Y, +Shift=new)   RT3 = Window Switcher (O, +Shift=move)
    RT4 = Teams Chat (U)   RT5 = Teams Call (J)
    
    Right hand - Navigation:
    RM1 = close (F)   RM2 = next empty WS (N, +Shift=move)   RM3 = next WS (E, +Shift=move)   RM4 = focus right (I, +Shift=move)   RM5 = balance (A)
    
    Right hand - Bottom row:
    RB0 = Music (B)   RB2 = WezTerm (,/+Shift=new)
    
    Thumbs: RH0 = fullscreen (ENT)   RH1 = float toggle   */

// ╭──────────────┬──────────────┬──────────────┬──────────────┬──────────────┬──────────────┬──────────────╮   ╭──────────────┬──────────────┬──────────────┬──────────────┬──────────────┬──────────────┬──────────────╮
        &trans         &trans         &wm_m            &wm_l            &wm_c            &wm_p          &trans              &trans         &wm_q            &wm_y            &wm_o            &wm_u            &wm_j            &trans
// ├──────────────┼──────────────┼──────────────┼──────────────┼──────────────┼──────────────┼──────────────┤   ├──────────────┼──────────────┼──────────────┼──────────────┼──────────────┼──────────────┼──────────────┤
      &aero_wbf         &trans         &wm_t            &kp LC(LA(LG(R))) &wm_d            &trans      &kp LC(RET)              &trans   &kp LC(LA(LG(F))) &wm_n            &wm_e            &wm_i      &kp LC(LA(LG(A))) &trans
// ├──────────────┼──────────────┼──────────────┼──────────────┼──────────────┼──────────────┤──────────────╯   ╰──────────────├──────────────┼──────────────┼──────────────┼──────────────┼──────────────┼──────────────┤
        &trans         &trans         &trans         &trans         &trans         &trans                                           &wm_b            &wm_h            &wm_comma        &wm_dot          &wm_minus        &trans
// ╰──────────────┴──────────────┴──────────────┼──────────────┼──────────────┼──────────────┤                                 ├──────────────┼──────────────┼──────────────┼──────────────┴──────────────┴──────────────╯
                                                      &trans         &trans         &trans                                &kp LC(LA(LG(RET)))  &aero_float      &trans
//                                              ╰──────────────┴──────────────┴──────────────╯                                 ╰──────────────┴──────────────┴──────────────╯
            >;
        };
    };
};
